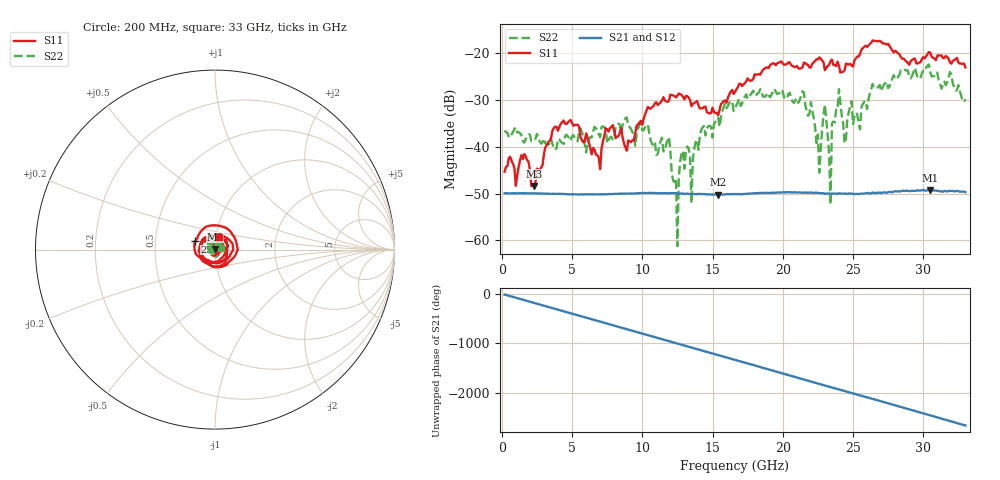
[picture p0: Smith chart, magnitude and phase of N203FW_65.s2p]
# GHZ S RI R 50
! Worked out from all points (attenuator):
!   329 points, 200 MHz to 33 GHz, reference 50 ohm
!   highest |S21| = -49.24 dB at 30.5 GHz (marker M1); lowest = -50.2 dB at 15.4 GHz (marker M2)
!   lowest |S11| = -48.4 dB at 2.3 GHz (marker M3), VSWR 1.01, Z = 50.1 + j0.374 ohm
!   |S11| at or under -10 dB: start of sweep to end of sweep
!   |S22| runs from -61.3 to -22.4 dB; largest |S21 - S12| = 8.9e-05
!   S11 on the Smith chart (normalised r, x): 200 MHz: 1.01, +0.00; 25.9 GHz: 0.80, +0.07; 33 GHz: 1.03, +0.14
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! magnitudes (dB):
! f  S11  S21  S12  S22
! 200 MHz  -45.3  -49.9  -49.9  -36.5
! 2.3 GHz  -48.4  -49.9  -50.0  -38.8
! 5.7 GHz  -38.6  -50.2  -50.2  -36.9
! 11.2 GHz  -30.8  -49.9  -49.9  -39.9
! 11.9 GHz  -30.1  -49.9  -49.9  -37.9
! 12.4 GHz  -29.4  -49.9  -49.9  -46.8
! 12.5 GHz  -29.0  -50.0  -49.9  -61.3
! 12.8 GHz  -28.9  -50.0  -50.0  -41.4
! 13.5 GHz  -31.3  -50.1  -50.1  -52.0
! 15.4 GHz  -33.3  -50.2  -50.2  -33.7
! 16.6 GHz  -28.2  -50.1  -50.1  -31.7
! 22.1 GHz  -22.2  -49.8  -49.8  -32.2
! 22.6 GHz  -20.9  -49.9  -49.9  -45.5
! 23 GHz  -23.6  -50.0  -50.0  -31.0
! 23.4 GHz  -21.6  -50.0  -50.0  -52.3
! 23.5 GHz  -21.3  -50.0  -50.0  -35.0
! 24 GHz  -22.6  -49.9  -50.0  -27.6
! 24.4 GHz  -23.6  -50.0  -49.9  -39.2
! 25.9 GHz  -18.4  -49.9  -50.0  -30.2
! 27.6 GHz  -18.4  -49.6  -49.6  -27.1
! 30.5 GHz  -19.9  -49.2  -49.3  -24.0
! 33 GHz  -23.0  -49.7  -49.7  -29.8
